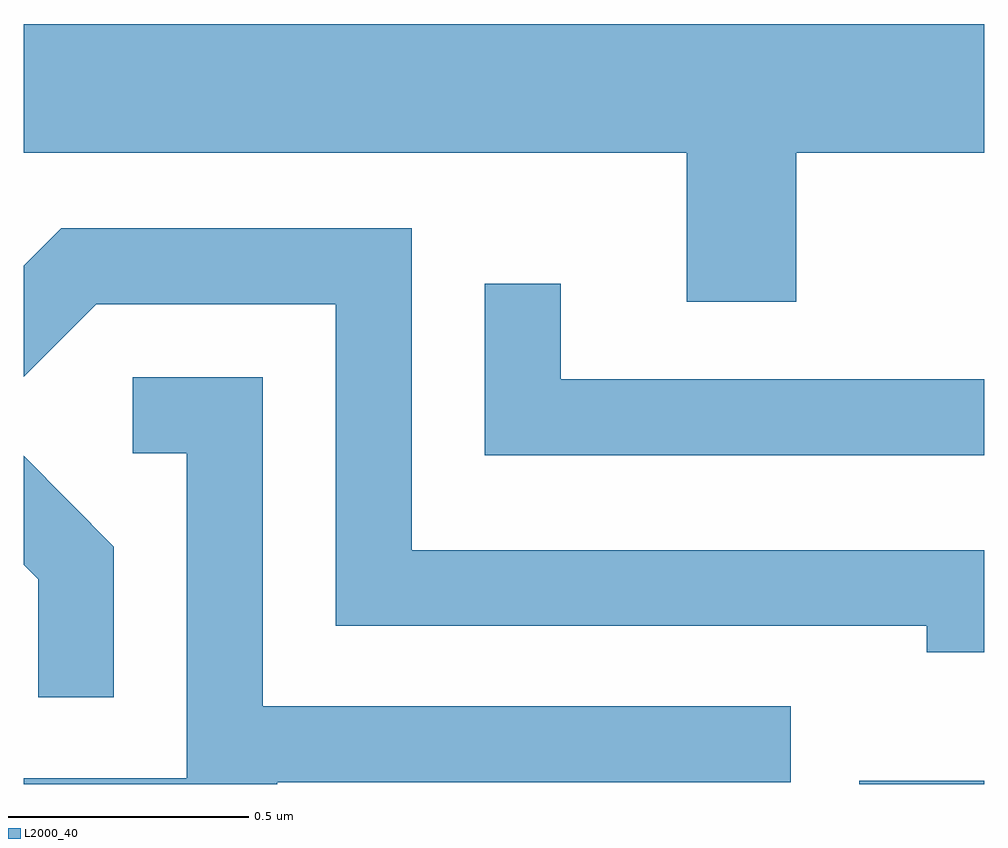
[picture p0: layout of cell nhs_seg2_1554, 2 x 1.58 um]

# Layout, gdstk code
import gdstk
lib = gdstk.Library(unit=1e-6, precision=1e-09)
def R(c, l, rs):  # rectangles x0, y0, x1, y1
    for r in rs: c.add(gdstk.rectangle(r[:2], r[2:], *l))
def P(c, l, *ps):  # polygons
    for p in ps: c.add(gdstk.Polygon(p, *l))
L2000_40 = (2000, 40)

nhs_seg2_1554 = lib.new_cell('nhs_seg2_1554')
R(nhs_seg2_1554, L2000_40, [(198.351,1024.802,198.611,1024.809)])
P(nhs_seg2_1554, L2000_40, [(198.219,1026.116),(198.611,1026.116),(198.611,1026.384),(196.611,1026.384),(196.611,1026.116),(197.991,1026.116),(197.991,1025.806),(198.219,1025.806)],
  [(198.611,1025.289),(197.419,1025.289),(197.419,1025.959),(196.689,1025.959),(196.611,1025.881),(196.611,1025.65),(196.762,1025.801),(197.261,1025.801),(197.261,1025.131),(198.491,1025.131),(198.491,1025.076),(198.611,1025.076)],
  [(198.611,1025.644),(197.729,1025.644),(197.729,1025.843),(197.571,1025.843),(197.571,1025.486),(198.611,1025.486)],
  [(197.139,1024.806),(198.208,1024.806),(198.208,1024.964),(197.109,1024.964),(197.109,1025.649),(196.838,1025.649),(196.838,1025.491),(196.951,1025.491),(196.951,1024.814),(196.611,1024.814),(196.611,1024.802),(197.139,1024.802)],
  [(196.799,1025.296),(196.611,1025.485),(196.611,1025.258),(196.641,1025.228),(196.641,1024.983),(196.799,1024.983)])

lib.write_gds('nhs_seg2_1554.gds')
